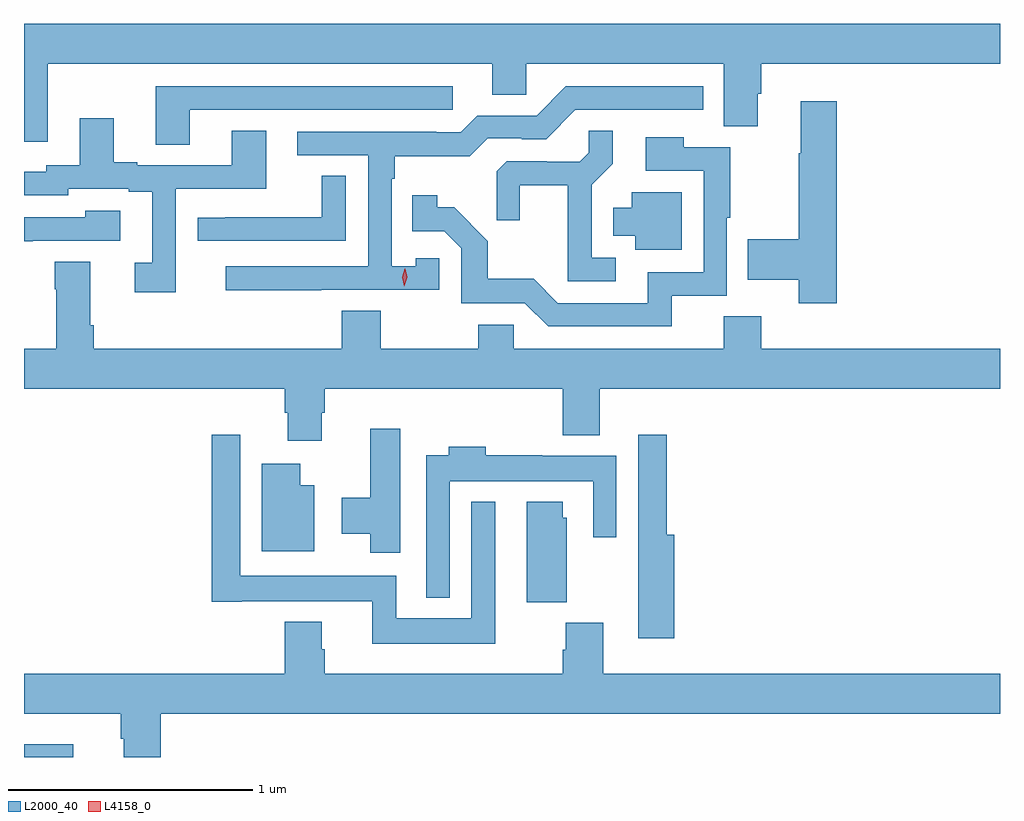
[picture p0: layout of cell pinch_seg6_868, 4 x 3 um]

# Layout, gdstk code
import gdstk
lib = gdstk.Library(unit=1e-6, precision=1e-09)
def R(c, l, rs):  # rectangles x0, y0, x1, y1
    for r in rs: c.add(gdstk.rectangle(r[:2], r[2:], *l))
def P(c, l, *ps):  # polygons
    for p in ps: c.add(gdstk.Polygon(p, *l))
L2000_40 = (2000, 40)
L4158_0 = (4158, 0)

pinch_seg6_868 = lib.new_cell('pinch_seg6_868')
R(pinch_seg6_868, L2000_40, [(204.791,953.819,204.992,953.872)])
P(pinch_seg6_868, L2000_40, [(204.791,956.34),(204.889,956.34),(204.889,956.66),(206.711,956.66),(206.711,956.533),(206.85,956.533),(206.85,956.66),(207.659,956.66),(207.659,956.404),(207.799,956.404),(207.799,956.538),(207.812,956.538),(207.812,956.66),(208.791,956.66),(208.791,956.824),(204.791,956.824)],
  [(205.471,956.472),(206.548,956.472),(206.548,956.568),(205.331,956.568),(205.331,956.329),(205.471,956.329)],
  [(206.009,955.734),(206.493,955.734),(206.493,955.863),(206.397,955.863),(206.397,955.831),(206.298,955.831),(206.298,956.189),(206.311,956.189),(206.311,956.282),(206.618,956.282),(206.691,956.355),(206.83,956.355),(206.83,956.352),(206.931,956.352),(207.051,956.472),(207.574,956.472),(207.574,956.568),(207.012,956.568),(206.892,956.448),(206.649,956.448),(206.58,956.379),(206.48,956.379),(206.48,956.382),(205.911,956.382),(205.911,956.286),(206.202,956.286),(206.202,955.83),(205.617,955.83),(205.617,955.732),(206.009,955.732)],
  [(208.121,956.506),(207.974,956.506),(207.974,956.293),(207.967,956.293),(207.967,955.941),(207.757,955.941),(207.757,955.775),(207.967,955.775),(207.967,955.68),(208.121,955.68)],
  [(205.413,956.148),(205.783,956.148),(205.783,956.387),(205.643,956.387),(205.643,956.244),(205.255,956.244),(205.255,956.257),(205.159,956.257),(205.159,956.437),(205.019,956.437),(205.019,956.244),(204.882,956.244),(204.882,956.217),(204.791,956.217),(204.791,956.121),(204.972,956.121),(204.972,956.148),(205.22,956.148),(205.22,956.136),(205.316,956.136),(205.316,955.845),(205.245,955.845),(205.245,955.725),(205.413,955.725)],
  [(207.217,955.866),(207.117,955.866),(207.117,956.165),(207.203,956.251),(207.203,956.387),(207.105,956.387),(207.105,956.296),(207.068,956.259),(206.934,956.259),(206.934,956.262),(206.769,956.262),(206.728,956.221),(206.728,956.019),(206.822,956.019),(206.822,956.162),(207.02,956.162),(207.02,955.77),(207.217,955.77)],
  [(207.446,955.71),(207.672,955.71),(207.672,956.029),(207.685,956.029),(207.685,956.319),(207.495,956.319),(207.495,956.359),(207.339,956.359),(207.339,956.223),(207.576,956.223),(207.576,955.806),(207.347,955.806),(207.347,955.68),(206.979,955.68),(206.881,955.779),(206.692,955.779),(206.692,955.934),(206.554,956.072),(206.484,956.072),(206.484,956.122),(206.383,956.122),(206.383,955.974),(206.514,955.974),(206.583,955.905),(206.583,955.68),(206.844,955.68),(206.94,955.584),(207.446,955.584)],
  [(206.109,956.201),(206.011,956.201),(206.011,956.031),(205.615,956.031),(205.615,956.03),(205.503,956.03),(205.503,955.935),(206.109,955.935)],
  [(207.487,956.134),(207.281,956.134),(207.281,956.071),(207.206,956.071),(207.206,955.955),(207.296,955.955),(207.296,955.898),(207.487,955.898)],
  [(204.827,955.935),(205.186,955.935),(205.186,956.059),(205.041,956.059),(205.041,956.031),(204.791,956.031),(204.791,955.933),(204.827,955.933)],
  [(206.011,955.23),(206.024,955.23),(206.024,955.328),(206.999,955.328),(206.999,955.139),(207.151,955.139),(207.151,955.328),(208.791,955.328),(208.791,955.492),(207.812,955.492),(207.812,955.625),(207.659,955.625),(207.659,955.492),(206.799,955.492),(206.799,955.59),(206.653,955.59),(206.653,955.492),(206.253,955.492),(206.253,955.649),(206.093,955.649),(206.093,955.492),(205.076,955.492),(205.076,955.588),(205.063,955.588),(205.063,955.849),(204.916,955.849),(204.916,955.736),(204.923,955.736),(204.923,955.492),(204.791,955.492),(204.791,955.328),(205.859,955.328),(205.859,955.23),(205.871,955.23),(205.871,955.116),(206.011,955.116)],
  [(206.332,955.165),(206.21,955.165),(206.21,954.882),(206.093,954.882),(206.093,954.734),(206.21,954.734),(206.21,954.657),(206.332,954.657)],
  [(206.722,954.865),(206.625,954.865),(206.625,954.388),(206.316,954.388),(206.316,954.562),(205.677,954.562),(205.677,955.141),(205.561,955.141),(205.561,954.456),(205.684,954.456),(205.684,954.458),(206.219,954.458),(206.219,954.284),(206.722,954.284)],
  [(207.455,954.73),(207.425,954.73),(207.425,955.141),(207.309,955.141),(207.309,954.626),(207.308,954.626),(207.308,954.306),(207.455,954.306)],
  [(206.535,954.95),(207.123,954.95),(207.123,954.72),(207.219,954.72),(207.219,955.054),(206.915,955.054),(206.915,955.057),(206.684,955.057),(206.684,955.09),(206.531,955.09),(206.531,955.057),(206.439,955.057),(206.439,954.473),(206.535,954.473)],
  [(205.981,954.934),(205.924,954.934),(205.924,955.021),(205.766,955.021),(205.766,954.662),(205.981,954.662)],
  [(207.016,954.801),(206.998,954.801),(206.998,954.865),(206.852,954.865),(206.852,954.454),(207.016,954.454)],
  [(205.352,953.996),(208.791,953.996),(208.791,954.16),(207.164,954.16),(207.164,954.369),(207.011,954.369),(207.011,954.26),(206.999,954.26),(206.999,954.16),(206.024,954.16),(206.024,954.261),(206.011,954.261),(206.011,954.373),(205.859,954.373),(205.859,954.16),(204.791,954.16),(204.791,953.996),(205.187,953.996),(205.187,953.895),(205.199,953.895),(205.199,953.819),(205.352,953.819)])
P(pinch_seg6_868, L4158_0, [(206.35,955.749),(206.35,955.749),(206.341,955.786),(206.352,955.821),(206.352,955.821),(206.353,955.821),(206.361,955.785),(206.35,955.749)])

lib.write_gds('pinch_seg6_868.gds')
